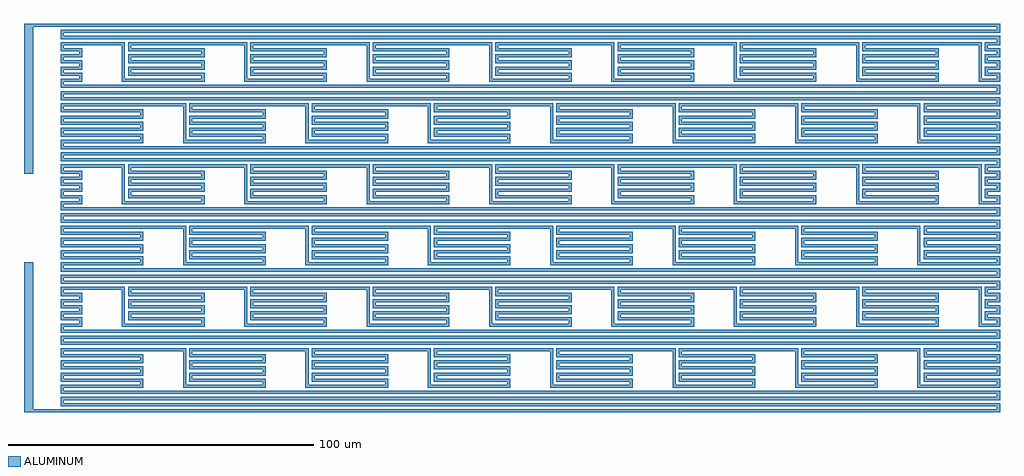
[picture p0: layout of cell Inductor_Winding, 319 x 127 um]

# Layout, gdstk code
import gdstk
lib = gdstk.Library(unit=1e-6, precision=1e-09)
def R(c, l, rs):  # rectangles x0, y0, x1, y1
    for r in rs: c.add(gdstk.rectangle(r[:2], r[2:], *l))
def P(c, l, *ps):  # polygons
    for p in ps: c.add(gdstk.Polygon(p, *l))
ALUMINUM = (3, 0)

inductor_winding = lib.new_cell('Inductor_Winding')
R(inductor_winding, ALUMINUM, [(1358.226,-197.065,1372.226,-196.065), (1370.226,-197.065,1517.226,-196.065), (1358.226,-196.565,1361.226,-148.065), (1358.226,-119.065,1361.226,-70.565), (1358.226,-71.065,1372.226,-70.065), (1370.226,-71.065,1537.226,-70.065)])
P(inductor_winding, ALUMINUM, [(1391.226,-163.065),(1391.226,-168.065),(1416.226,-168.065),(1416.226,-167.065),(1392.226,-167.065),(1392.226,-164.065),(1416.226,-164.065),(1416.226,-163.065),(1417.226,-163.065),(1417.226,-165.065),(1393.226,-165.065),(1393.226,-166.065),(1417.226,-166.065),(1417.226,-169.065),(1390.226,-169.065),(1390.226,-163.065)],
  [(1431.226,-163.065),(1431.226,-168.065),(1456.226,-168.065),(1456.226,-167.065),(1432.226,-167.065),(1432.226,-164.065),(1456.226,-164.065),(1456.226,-163.065),(1457.226,-163.065),(1457.226,-165.065),(1433.226,-165.065),(1433.226,-166.065),(1457.226,-166.065),(1457.226,-169.065),(1430.226,-169.065),(1430.226,-163.065)],
  [(1471.226,-163.065),(1471.226,-168.065),(1496.226,-168.065),(1496.226,-167.065),(1472.226,-167.065),(1472.226,-164.065),(1496.226,-164.065),(1496.226,-163.065),(1497.226,-163.065),(1497.226,-165.065),(1473.226,-165.065),(1473.226,-166.065),(1497.226,-166.065),(1497.226,-169.065),(1470.226,-169.065),(1470.226,-163.065)],
  [(1511.226,-163.065),(1511.226,-168.065),(1536.226,-168.065),(1536.226,-167.065),(1512.226,-167.065),(1512.226,-164.065),(1536.226,-164.065),(1536.226,-163.065),(1537.226,-163.065),(1537.226,-165.065),(1513.226,-165.065),(1513.226,-166.065),(1537.226,-166.065),(1537.226,-169.065),(1510.226,-169.065),(1510.226,-163.065)],
  [(1551.226,-163.065),(1551.226,-168.065),(1576.226,-168.065),(1576.226,-167.065),(1552.226,-167.065),(1552.226,-164.065),(1576.226,-164.065),(1576.226,-163.065),(1577.226,-163.065),(1577.226,-165.065),(1553.226,-165.065),(1553.226,-166.065),(1577.226,-166.065),(1577.226,-169.065),(1550.226,-169.065),(1550.226,-163.065)],
  [(1591.226,-163.065),(1591.226,-168.065),(1616.226,-168.065),(1616.226,-167.065),(1592.226,-167.065),(1592.226,-164.065),(1616.226,-164.065),(1616.226,-163.065),(1617.226,-163.065),(1617.226,-165.065),(1593.226,-165.065),(1593.226,-166.065),(1617.226,-166.065),(1617.226,-169.065),(1590.226,-169.065),(1590.226,-163.065)],
  [(1631.226,-163.065),(1631.226,-168.065),(1656.226,-168.065),(1656.226,-167.065),(1632.226,-167.065),(1632.226,-164.065),(1656.226,-164.065),(1656.226,-163.065),(1657.226,-163.065),(1657.226,-165.065),(1633.226,-165.065),(1633.226,-166.065),(1657.226,-166.065),(1657.226,-169.065),(1630.226,-169.065),(1630.226,-163.065)],
  [(1671.226,-163.065),(1671.226,-168.065),(1676.226,-168.065),(1676.226,-167.065),(1672.226,-167.065),(1672.226,-164.065),(1676.226,-164.065),(1676.226,-163.065),(1677.226,-163.065),(1677.226,-165.065),(1673.226,-165.065),(1673.226,-166.065),(1677.226,-166.065),(1677.226,-169.065),(1670.226,-169.065),(1670.226,-163.065)],
  [(1370.226,-163.065),(1370.226,-160.065),(1376.226,-160.065),(1376.226,-159.065),(1370.226,-159.065),(1370.226,-156.065),(1391.226,-156.065),(1391.226,-163.065),(1390.226,-163.065),(1390.226,-157.065),(1371.226,-157.065),(1371.226,-158.065),(1377.226,-158.065),(1377.226,-161.065),(1371.226,-161.065),(1371.226,-162.065),(1377.226,-162.065),(1377.226,-163.065)],
  [(1392.226,-163.065),(1392.226,-160.065),(1416.226,-160.065),(1416.226,-159.065),(1392.226,-159.065),(1392.226,-156.065),(1431.226,-156.065),(1431.226,-163.065),(1430.226,-163.065),(1430.226,-157.065),(1393.226,-157.065),(1393.226,-158.065),(1417.226,-158.065),(1417.226,-161.065),(1393.226,-161.065),(1393.226,-162.065),(1417.226,-162.065),(1417.226,-163.065)],
  [(1432.226,-163.065),(1432.226,-160.065),(1456.226,-160.065),(1456.226,-159.065),(1432.226,-159.065),(1432.226,-156.065),(1471.226,-156.065),(1471.226,-163.065),(1470.226,-163.065),(1470.226,-157.065),(1433.226,-157.065),(1433.226,-158.065),(1457.226,-158.065),(1457.226,-161.065),(1433.226,-161.065),(1433.226,-162.065),(1457.226,-162.065),(1457.226,-163.065)],
  [(1472.226,-163.065),(1472.226,-160.065),(1496.226,-160.065),(1496.226,-159.065),(1472.226,-159.065),(1472.226,-156.065),(1511.226,-156.065),(1511.226,-163.065),(1510.226,-163.065),(1510.226,-157.065),(1473.226,-157.065),(1473.226,-158.065),(1497.226,-158.065),(1497.226,-161.065),(1473.226,-161.065),(1473.226,-162.065),(1497.226,-162.065),(1497.226,-163.065)],
  [(1512.226,-163.065),(1512.226,-160.065),(1536.226,-160.065),(1536.226,-159.065),(1512.226,-159.065),(1512.226,-156.065),(1551.226,-156.065),(1551.226,-163.065),(1550.226,-163.065),(1550.226,-157.065),(1513.226,-157.065),(1513.226,-158.065),(1537.226,-158.065),(1537.226,-161.065),(1513.226,-161.065),(1513.226,-162.065),(1537.226,-162.065),(1537.226,-163.065)],
  [(1552.226,-163.065),(1552.226,-160.065),(1576.226,-160.065),(1576.226,-159.065),(1552.226,-159.065),(1552.226,-156.065),(1591.226,-156.065),(1591.226,-163.065),(1590.226,-163.065),(1590.226,-157.065),(1553.226,-157.065),(1553.226,-158.065),(1577.226,-158.065),(1577.226,-161.065),(1553.226,-161.065),(1553.226,-162.065),(1577.226,-162.065),(1577.226,-163.065)],
  [(1592.226,-163.065),(1592.226,-160.065),(1616.226,-160.065),(1616.226,-159.065),(1592.226,-159.065),(1592.226,-156.065),(1631.226,-156.065),(1631.226,-163.065),(1630.226,-163.065),(1630.226,-157.065),(1593.226,-157.065),(1593.226,-158.065),(1617.226,-158.065),(1617.226,-161.065),(1593.226,-161.065),(1593.226,-162.065),(1617.226,-162.065),(1617.226,-163.065)],
  [(1632.226,-163.065),(1632.226,-160.065),(1656.226,-160.065),(1656.226,-159.065),(1632.226,-159.065),(1632.226,-156.065),(1671.226,-156.065),(1671.226,-163.065),(1670.226,-163.065),(1670.226,-157.065),(1633.226,-157.065),(1633.226,-158.065),(1657.226,-158.065),(1657.226,-161.065),(1633.226,-161.065),(1633.226,-162.065),(1657.226,-162.065),(1657.226,-163.065)],
  [(1411.226,-102.065),(1411.226,-108.065),(1436.226,-108.065),(1436.226,-107.065),(1412.226,-107.065),(1412.226,-104.065),(1436.226,-104.065),(1436.226,-103.065),(1412.226,-103.065),(1412.226,-102.065),(1437.226,-102.065),(1437.226,-105.065),(1413.226,-105.065),(1413.226,-106.065),(1437.226,-106.065),(1437.226,-109.065),(1410.226,-109.065),(1410.226,-102.065)],
  [(1451.226,-102.065),(1451.226,-108.065),(1476.226,-108.065),(1476.226,-107.065),(1452.226,-107.065),(1452.226,-104.065),(1476.226,-104.065),(1476.226,-103.065),(1452.226,-103.065),(1452.226,-102.065),(1477.226,-102.065),(1477.226,-105.065),(1453.226,-105.065),(1453.226,-106.065),(1477.226,-106.065),(1477.226,-109.065),(1450.226,-109.065),(1450.226,-102.065)],
  [(1491.226,-102.065),(1491.226,-108.065),(1516.226,-108.065),(1516.226,-107.065),(1492.226,-107.065),(1492.226,-104.065),(1516.226,-104.065),(1516.226,-103.065),(1492.226,-103.065),(1492.226,-102.065),(1517.226,-102.065),(1517.226,-105.065),(1493.226,-105.065),(1493.226,-106.065),(1517.226,-106.065),(1517.226,-109.065),(1490.226,-109.065),(1490.226,-102.065)],
  [(1531.226,-102.065),(1531.226,-108.065),(1556.226,-108.065),(1556.226,-107.065),(1532.226,-107.065),(1532.226,-104.065),(1556.226,-104.065),(1556.226,-103.065),(1532.226,-103.065),(1532.226,-102.065),(1557.226,-102.065),(1557.226,-105.065),(1533.226,-105.065),(1533.226,-106.065),(1557.226,-106.065),(1557.226,-109.065),(1530.226,-109.065),(1530.226,-102.065)],
  [(1571.226,-102.065),(1571.226,-108.065),(1596.226,-108.065),(1596.226,-107.065),(1572.226,-107.065),(1572.226,-104.065),(1596.226,-104.065),(1596.226,-103.065),(1572.226,-103.065),(1572.226,-102.065),(1597.226,-102.065),(1597.226,-105.065),(1573.226,-105.065),(1573.226,-106.065),(1597.226,-106.065),(1597.226,-109.065),(1570.226,-109.065),(1570.226,-102.065)],
  [(1611.226,-102.065),(1611.226,-108.065),(1636.226,-108.065),(1636.226,-107.065),(1612.226,-107.065),(1612.226,-104.065),(1636.226,-104.065),(1636.226,-103.065),(1612.226,-103.065),(1612.226,-102.065),(1637.226,-102.065),(1637.226,-105.065),(1613.226,-105.065),(1613.226,-106.065),(1637.226,-106.065),(1637.226,-109.065),(1610.226,-109.065),(1610.226,-102.065)],
  [(1651.226,-102.065),(1651.226,-108.065),(1676.226,-108.065),(1676.226,-107.065),(1652.226,-107.065),(1652.226,-104.065),(1676.226,-104.065),(1676.226,-103.065),(1652.226,-103.065),(1652.226,-102.065),(1677.226,-102.065),(1677.226,-105.065),(1653.226,-105.065),(1653.226,-106.065),(1677.226,-106.065),(1677.226,-109.065),(1650.226,-109.065),(1650.226,-102.065)],
  [(1370.226,-102.065),(1370.226,-100.065),(1396.226,-100.065),(1396.226,-99.065),(1370.226,-99.065),(1370.226,-96.065),(1411.226,-96.065),(1411.226,-102.065),(1410.226,-102.065),(1410.226,-97.065),(1371.226,-97.065),(1371.226,-98.065),(1397.226,-98.065),(1397.226,-101.065),(1371.226,-101.065),(1371.226,-102.065)],
  [(1412.226,-102.065),(1412.226,-100.065),(1436.226,-100.065),(1436.226,-99.065),(1412.226,-99.065),(1412.226,-96.065),(1451.226,-96.065),(1451.226,-102.065),(1450.226,-102.065),(1450.226,-97.065),(1413.226,-97.065),(1413.226,-98.065),(1437.226,-98.065),(1437.226,-101.065),(1413.226,-101.065),(1413.226,-102.065)],
  [(1452.226,-102.065),(1452.226,-100.065),(1476.226,-100.065),(1476.226,-99.065),(1452.226,-99.065),(1452.226,-96.065),(1491.226,-96.065),(1491.226,-102.065),(1490.226,-102.065),(1490.226,-97.065),(1453.226,-97.065),(1453.226,-98.065),(1477.226,-98.065),(1477.226,-101.065),(1453.226,-101.065),(1453.226,-102.065)],
  [(1492.226,-102.065),(1492.226,-100.065),(1516.226,-100.065),(1516.226,-99.065),(1492.226,-99.065),(1492.226,-96.065),(1531.226,-96.065),(1531.226,-102.065),(1530.226,-102.065),(1530.226,-97.065),(1493.226,-97.065),(1493.226,-98.065),(1517.226,-98.065),(1517.226,-101.065),(1493.226,-101.065),(1493.226,-102.065)],
  [(1532.226,-102.065),(1532.226,-100.065),(1556.226,-100.065),(1556.226,-99.065),(1532.226,-99.065),(1532.226,-96.065),(1571.226,-96.065),(1571.226,-102.065),(1570.226,-102.065),(1570.226,-97.065),(1533.226,-97.065),(1533.226,-98.065),(1557.226,-98.065),(1557.226,-101.065),(1533.226,-101.065),(1533.226,-102.065)],
  [(1572.226,-102.065),(1572.226,-100.065),(1596.226,-100.065),(1596.226,-99.065),(1572.226,-99.065),(1572.226,-96.065),(1611.226,-96.065),(1611.226,-102.065),(1610.226,-102.065),(1610.226,-97.065),(1573.226,-97.065),(1573.226,-98.065),(1597.226,-98.065),(1597.226,-101.065),(1573.226,-101.065),(1573.226,-102.065)],
  [(1612.226,-102.065),(1612.226,-100.065),(1636.226,-100.065),(1636.226,-99.065),(1612.226,-99.065),(1612.226,-96.065),(1651.226,-96.065),(1651.226,-102.065),(1650.226,-102.065),(1650.226,-97.065),(1613.226,-97.065),(1613.226,-98.065),(1637.226,-98.065),(1637.226,-101.065),(1613.226,-101.065),(1613.226,-102.065)],
  [(1517.226,-195.065),(1370.226,-195.065),(1370.226,-192.065),(1517.226,-192.065),(1517.226,-193.065),(1371.226,-193.065),(1371.226,-194.065),(1517.226,-194.065)],
  [(1517.226,-191.065),(1370.226,-191.065),(1370.226,-188.065),(1396.226,-188.065),(1396.226,-187.065),(1370.226,-187.065),(1370.226,-184.065),(1396.226,-184.065),(1396.226,-183.065),(1370.226,-183.065),(1370.226,-180.065),(1396.226,-180.065),(1396.226,-179.065),(1370.226,-179.065),(1370.226,-176.065),(1411.226,-176.065),(1411.226,-188.065),(1436.226,-188.065),(1436.226,-187.065),(1412.226,-187.065),(1412.226,-184.065),(1436.226,-184.065),(1436.226,-183.065),(1412.226,-183.065),(1412.226,-180.065),(1436.226,-180.065),(1436.226,-179.065),(1412.226,-179.065),(1412.226,-176.065),(1451.226,-176.065),(1451.226,-188.065),(1476.226,-188.065),(1476.226,-187.065),(1452.226,-187.065),(1452.226,-184.065),(1476.226,-184.065),(1476.226,-183.065),(1452.226,-183.065),(1452.226,-180.065),(1476.226,-180.065),(1476.226,-179.065),(1452.226,-179.065),(1452.226,-176.065),(1491.226,-176.065),(1491.226,-188.065),(1516.226,-188.065),(1516.226,-187.065),(1492.226,-187.065),(1492.226,-184.065),(1516.226,-184.065),(1516.226,-183.065),(1492.226,-183.065),(1492.226,-180.065),(1516.226,-180.065),(1516.226,-179.065),(1492.226,-179.065),(1492.226,-176.065),(1517.226,-176.065),(1517.226,-177.065),(1493.226,-177.065),(1493.226,-178.065),(1517.226,-178.065),(1517.226,-181.065),(1493.226,-181.065),(1493.226,-182.065),(1517.226,-182.065),(1517.226,-185.065),(1493.226,-185.065),(1493.226,-186.065),(1517.226,-186.065),(1517.226,-189.065),(1490.226,-189.065),(1490.226,-177.065),(1453.226,-177.065),(1453.226,-178.065),(1477.226,-178.065),(1477.226,-181.065),(1453.226,-181.065),(1453.226,-182.065),(1477.226,-182.065),(1477.226,-185.065),(1453.226,-185.065),(1453.226,-186.065),(1477.226,-186.065),(1477.226,-189.065),(1450.226,-189.065),(1450.226,-177.065),(1413.226,-177.065),(1413.226,-178.065),(1437.226,-178.065),(1437.226,-181.065),(1413.226,-181.065),(1413.226,-182.065),(1437.226,-182.065),(1437.226,-185.065),(1413.226,-185.065),(1413.226,-186.065),(1437.226,-186.065),(1437.226,-189.065),(1410.226,-189.065),(1410.226,-177.065),(1371.226,-177.065),(1371.226,-178.065),(1397.226,-178.065),(1397.226,-181.065),(1371.226,-181.065),(1371.226,-182.065),(1397.226,-182.065),(1397.226,-185.065),(1371.226,-185.065),(1371.226,-186.065),(1397.226,-186.065),(1397.226,-189.065),(1371.226,-189.065),(1371.226,-190.065),(1517.226,-190.065)],
  [(1517.226,-175.065),(1370.226,-175.065),(1370.226,-172.065),(1517.226,-172.065),(1517.226,-173.065),(1371.226,-173.065),(1371.226,-174.065),(1517.226,-174.065)],
  [(1517.226,-171.065),(1370.226,-171.065),(1370.226,-168.065),(1376.226,-168.065),(1376.226,-167.065),(1370.226,-167.065),(1370.226,-164.065),(1376.226,-164.065),(1376.226,-163.065),(1377.226,-163.065),(1377.226,-165.065),(1371.226,-165.065),(1371.226,-166.065),(1377.226,-166.065),(1377.226,-169.065),(1371.226,-169.065),(1371.226,-170.065),(1517.226,-170.065)],
  [(1517.226,-196.065),(1676.226,-196.065),(1676.226,-195.065),(1517.226,-195.065),(1517.226,-194.065),(1677.226,-194.065),(1677.226,-197.065),(1517.226,-197.065)],
  [(1517.226,-192.065),(1676.226,-192.065),(1676.226,-191.065),(1517.226,-191.065),(1517.226,-190.065),(1677.226,-190.065),(1677.226,-193.065),(1517.226,-193.065)],
  [(1517.226,-176.065),(1531.226,-176.065),(1531.226,-188.065),(1556.226,-188.065),(1556.226,-187.065),(1532.226,-187.065),(1532.226,-184.065),(1556.226,-184.065),(1556.226,-183.065),(1532.226,-183.065),(1532.226,-180.065),(1556.226,-180.065),(1556.226,-179.065),(1532.226,-179.065),(1532.226,-176.065),(1571.226,-176.065),(1571.226,-188.065),(1596.226,-188.065),(1596.226,-187.065),(1572.226,-187.065),(1572.226,-184.065),(1596.226,-184.065),(1596.226,-183.065),(1572.226,-183.065),(1572.226,-180.065),(1596.226,-180.065),(1596.226,-179.065),(1572.226,-179.065),(1572.226,-176.065),(1611.226,-176.065),(1611.226,-188.065),(1636.226,-188.065),(1636.226,-187.065),(1612.226,-187.065),(1612.226,-184.065),(1636.226,-184.065),(1636.226,-183.065),(1612.226,-183.065),(1612.226,-180.065),(1636.226,-180.065),(1636.226,-179.065),(1612.226,-179.065),(1612.226,-176.065),(1651.226,-176.065),(1651.226,-188.065),(1676.226,-188.065),(1676.226,-187.065),(1652.226,-187.065),(1652.226,-184.065),(1676.226,-184.065),(1676.226,-183.065),(1652.226,-183.065),(1652.226,-180.065),(1676.226,-180.065),(1676.226,-179.065),(1652.226,-179.065),(1652.226,-176.065),(1676.226,-176.065),(1676.226,-175.065),(1517.226,-175.065),(1517.226,-174.065),(1677.226,-174.065),(1677.226,-177.065),(1653.226,-177.065),(1653.226,-178.065),(1677.226,-178.065),(1677.226,-181.065),(1653.226,-181.065),(1653.226,-182.065),(1677.226,-182.065),(1677.226,-185.065),(1653.226,-185.065),(1653.226,-186.065),(1677.226,-186.065),(1677.226,-189.065),(1650.226,-189.065),(1650.226,-177.065),(1613.226,-177.065),(1613.226,-178.065),(1637.226,-178.065),(1637.226,-181.065),(1613.226,-181.065),(1613.226,-182.065),(1637.226,-182.065),(1637.226,-185.065),(1613.226,-185.065),(1613.226,-186.065),(1637.226,-186.065),(1637.226,-189.065),(1610.226,-189.065),(1610.226,-177.065),(1573.226,-177.065),(1573.226,-178.065),(1597.226,-178.065),(1597.226,-181.065),(1573.226,-181.065),(1573.226,-182.065),(1597.226,-182.065),(1597.226,-185.065),(1573.226,-185.065),(1573.226,-186.065),(1597.226,-186.065),(1597.226,-189.065),(1570.226,-189.065),(1570.226,-177.065),(1533.226,-177.065),(1533.226,-178.065),(1557.226,-178.065),(1557.226,-181.065),(1533.226,-181.065),(1533.226,-182.065),(1557.226,-182.065),(1557.226,-185.065),(1533.226,-185.065),(1533.226,-186.065),(1557.226,-186.065),(1557.226,-189.065),(1530.226,-189.065),(1530.226,-177.065),(1517.226,-177.065)],
  [(1517.226,-172.065),(1676.226,-172.065),(1676.226,-171.065),(1517.226,-171.065),(1517.226,-170.065),(1677.226,-170.065),(1677.226,-173.065),(1517.226,-173.065)],
  [(1532.226,-155.065),(1370.226,-155.065),(1370.226,-152.065),(1532.226,-152.065),(1532.226,-153.065),(1371.226,-153.065),(1371.226,-154.065),(1532.226,-154.065)],
  [(1532.226,-151.065),(1370.226,-151.065),(1370.226,-148.065),(1396.226,-148.065),(1396.226,-147.065),(1370.226,-147.065),(1370.226,-144.065),(1396.226,-144.065),(1396.226,-143.065),(1370.226,-143.065),(1370.226,-140.065),(1396.226,-140.065),(1396.226,-139.065),(1370.226,-139.065),(1370.226,-136.065),(1411.226,-136.065),(1411.226,-148.065),(1436.226,-148.065),(1436.226,-147.065),(1412.226,-147.065),(1412.226,-144.065),(1436.226,-144.065),(1436.226,-143.065),(1412.226,-143.065),(1412.226,-140.065),(1436.226,-140.065),(1436.226,-139.065),(1412.226,-139.065),(1412.226,-136.065),(1451.226,-136.065),(1451.226,-148.065),(1476.226,-148.065),(1476.226,-147.065),(1452.226,-147.065),(1452.226,-144.065),(1476.226,-144.065),(1476.226,-143.065),(1452.226,-143.065),(1452.226,-140.065),(1476.226,-140.065),(1476.226,-139.065),(1452.226,-139.065),(1452.226,-136.065),(1491.226,-136.065),(1491.226,-148.065),(1516.226,-148.065),(1516.226,-147.065),(1492.226,-147.065),(1492.226,-144.065),(1516.226,-144.065),(1516.226,-143.065),(1492.226,-143.065),(1492.226,-140.065),(1516.226,-140.065),(1516.226,-139.065),(1492.226,-139.065),(1492.226,-136.065),(1531.226,-136.065),(1531.226,-148.065),(1532.226,-148.065),(1532.226,-149.065),(1530.226,-149.065),(1530.226,-137.065),(1493.226,-137.065),(1493.226,-138.065),(1517.226,-138.065),(1517.226,-141.065),(1493.226,-141.065),(1493.226,-142.065),(1517.226,-142.065),(1517.226,-145.065),(1493.226,-145.065),(1493.226,-146.065),(1517.226,-146.065),(1517.226,-149.065),(1490.226,-149.065),(1490.226,-137.065),(1453.226,-137.065),(1453.226,-138.065),(1477.226,-138.065),(1477.226,-141.065),(1453.226,-141.065),(1453.226,-142.065),(1477.226,-142.065),(1477.226,-145.065),(1453.226,-145.065),(1453.226,-146.065),(1477.226,-146.065),(1477.226,-149.065),(1450.226,-149.065),(1450.226,-137.065),(1413.226,-137.065),(1413.226,-138.065),(1437.226,-138.065),(1437.226,-141.065),(1413.226,-141.065),(1413.226,-142.065),(1437.226,-142.065),(1437.226,-145.065),(1413.226,-145.065),(1413.226,-146.065),(1437.226,-146.065),(1437.226,-149.065),(1410.226,-149.065),(1410.226,-137.065),(1371.226,-137.065),(1371.226,-138.065),(1397.226,-138.065),(1397.226,-141.065),(1371.226,-141.065),(1371.226,-142.065),(1397.226,-142.065),(1397.226,-145.065),(1371.226,-145.065),(1371.226,-146.065),(1397.226,-146.065),(1397.226,-149.065),(1371.226,-149.065),(1371.226,-150.065),(1532.226,-150.065)],
  [(1532.226,-135.065),(1370.226,-135.065),(1370.226,-132.065),(1532.226,-132.065),(1532.226,-133.065),(1371.226,-133.065),(1371.226,-134.065),(1532.226,-134.065)],
  [(1532.226,-131.065),(1370.226,-131.065),(1370.226,-129.065),(1371.226,-129.065),(1371.226,-130.065),(1532.226,-130.065)],
  [(1532.226,-154.065),(1677.226,-154.065),(1677.226,-157.065),(1673.226,-157.065),(1673.226,-158.065),(1677.226,-158.065),(1677.226,-161.065),(1673.226,-161.065),(1673.226,-162.065),(1677.226,-162.065),(1677.226,-163.065),(1672.226,-163.065),(1672.226,-160.065),(1676.226,-160.065),(1676.226,-159.065),(1672.226,-159.065),(1672.226,-156.065),(1676.226,-156.065),(1676.226,-155.065),(1532.226,-155.065)],
  [(1532.226,-152.065),(1676.226,-152.065),(1676.226,-151.065),(1532.226,-151.065),(1532.226,-150.065),(1677.226,-150.065),(1677.226,-153.065),(1532.226,-153.065)],
  [(1532.226,-148.065),(1556.226,-148.065),(1556.226,-147.065),(1532.226,-147.065),(1532.226,-144.065),(1556.226,-144.065),(1556.226,-143.065),(1532.226,-143.065),(1532.226,-140.065),(1556.226,-140.065),(1556.226,-139.065),(1532.226,-139.065),(1532.226,-136.065),(1571.226,-136.065),(1571.226,-148.065),(1596.226,-148.065),(1596.226,-147.065),(1572.226,-147.065),(1572.226,-144.065),(1596.226,-144.065),(1596.226,-143.065),(1572.226,-143.065),(1572.226,-140.065),(1596.226,-140.065),(1596.226,-139.065),(1572.226,-139.065),(1572.226,-136.065),(1611.226,-136.065),(1611.226,-148.065),(1636.226,-148.065),(1636.226,-147.065),(1612.226,-147.065),(1612.226,-144.065),(1636.226,-144.065),(1636.226,-143.065),(1612.226,-143.065),(1612.226,-140.065),(1636.226,-140.065),(1636.226,-139.065),(1612.226,-139.065),(1612.226,-136.065),(1651.226,-136.065),(1651.226,-148.065),(1676.226,-148.065),(1676.226,-147.065),(1652.226,-147.065),(1652.226,-144.065),(1676.226,-144.065),(1676.226,-143.065),(1652.226,-143.065),(1652.226,-140.065),(1676.226,-140.065),(1676.226,-139.065),(1652.226,-139.065),(1652.226,-136.065),(1676.226,-136.065),(1676.226,-135.065),(1532.226,-135.065),(1532.226,-134.065),(1677.226,-134.065),(1677.226,-137.065),(1653.226,-137.065),(1653.226,-138.065),(1677.226,-138.065),(1677.226,-141.065),(1653.226,-141.065),(1653.226,-142.065),(1677.226,-142.065),(1677.226,-145.065),(1653.226,-145.065),(1653.226,-146.065),(1677.226,-146.065),(1677.226,-149.065),(1650.226,-149.065),(1650.226,-137.065),(1613.226,-137.065),(1613.226,-138.065),(1637.226,-138.065),(1637.226,-141.065),(1613.226,-141.065),(1613.226,-142.065),(1637.226,-142.065),(1637.226,-145.065),(1613.226,-145.065),(1613.226,-146.065),(1637.226,-146.065),(1637.226,-149.065),(1610.226,-149.065),(1610.226,-137.065),(1573.226,-137.065),(1573.226,-138.065),(1597.226,-138.065),(1597.226,-141.065),(1573.226,-141.065),(1573.226,-142.065),(1597.226,-142.065),(1597.226,-145.065),(1573.226,-145.065),(1573.226,-146.065),(1597.226,-146.065),(1597.226,-149.065),(1570.226,-149.065),(1570.226,-137.065),(1533.226,-137.065),(1533.226,-138.065),(1557.226,-138.065),(1557.226,-141.065),(1533.226,-141.065),(1533.226,-142.065),(1557.226,-142.065),(1557.226,-145.065),(1533.226,-145.065),(1533.226,-146.065),(1557.226,-146.065),(1557.226,-149.065),(1532.226,-149.065)],
  [(1532.226,-132.065),(1676.226,-132.065),(1676.226,-131.065),(1532.226,-131.065),(1532.226,-130.065),(1677.226,-130.065),(1677.226,-133.065),(1532.226,-133.065)],
  [(1512.226,-129.065),(1510.226,-129.065),(1510.226,-117.065),(1473.226,-117.065),(1473.226,-118.065),(1497.226,-118.065),(1497.226,-121.065),(1473.226,-121.065),(1473.226,-122.065),(1497.226,-122.065),(1497.226,-125.065),(1473.226,-125.065),(1473.226,-126.065),(1497.226,-126.065),(1497.226,-129.065),(1470.226,-129.065),(1470.226,-117.065),(1433.226,-117.065),(1433.226,-118.065),(1457.226,-118.065),(1457.226,-121.065),(1433.226,-121.065),(1433.226,-122.065),(1457.226,-122.065),(1457.226,-125.065),(1433.226,-125.065),(1433.226,-126.065),(1457.226,-126.065),(1457.226,-129.065),(1430.226,-129.065),(1430.226,-117.065),(1393.226,-117.065),(1393.226,-118.065),(1417.226,-118.065),(1417.226,-121.065),(1393.226,-121.065),(1393.226,-122.065),(1417.226,-122.065),(1417.226,-125.065),(1393.226,-125.065),(1393.226,-126.065),(1417.226,-126.065),(1417.226,-129.065),(1390.226,-129.065),(1390.226,-117.065),(1371.226,-117.065),(1371.226,-118.065),(1377.226,-118.065),(1377.226,-121.065),(1371.226,-121.065),(1371.226,-122.065),(1377.226,-122.065),(1377.226,-125.065),(1371.226,-125.065),(1371.226,-126.065),(1377.226,-126.065),(1377.226,-129.065),(1370.226,-129.065),(1370.226,-128.065),(1376.226,-128.065),(1376.226,-127.065),(1370.226,-127.065),(1370.226,-124.065),(1376.226,-124.065),(1376.226,-123.065),(1370.226,-123.065),(1370.226,-120.065),(1376.226,-120.065),(1376.226,-119.065),(1370.226,-119.065),(1370.226,-116.065),(1391.226,-116.065),(1391.226,-128.065),(1416.226,-128.065),(1416.226,-127.065),(1392.226,-127.065),(1392.226,-124.065),(1416.226,-124.065),(1416.226,-123.065),(1392.226,-123.065),(1392.226,-120.065),(1416.226,-120.065),(1416.226,-119.065),(1392.226,-119.065),(1392.226,-116.065),(1431.226,-116.065),(1431.226,-128.065),(1456.226,-128.065),(1456.226,-127.065),(1432.226,-127.065),(1432.226,-124.065),(1456.226,-124.065),(1456.226,-123.065),(1432.226,-123.065),(1432.226,-120.065),(1456.226,-120.065),(1456.226,-119.065),(1432.226,-119.065),(1432.226,-116.065),(1471.226,-116.065),(1471.226,-128.065),(1496.226,-128.065),(1496.226,-127.065),(1472.226,-127.065),(1472.226,-124.065),(1496.226,-124.065),(1496.226,-123.065),(1472.226,-123.065),(1472.226,-120.065),(1496.226,-120.065),(1496.226,-119.065),(1472.226,-119.065),(1472.226,-116.065),(1511.226,-116.065),(1511.226,-128.065),(1512.226,-128.065)],
  [(1512.226,-115.065),(1370.226,-115.065),(1370.226,-112.065),(1512.226,-112.065),(1512.226,-113.065),(1371.226,-113.065),(1371.226,-114.065),(1512.226,-114.065)],
  [(1512.226,-111.065),(1370.226,-111.065),(1370.226,-108.065),(1396.226,-108.065),(1396.226,-107.065),(1370.226,-107.065),(1370.226,-104.065),(1396.226,-104.065),(1396.226,-103.065),(1370.226,-103.065),(1370.226,-102.065),(1397.226,-102.065),(1397.226,-105.065),(1371.226,-105.065),(1371.226,-106.065),(1397.226,-106.065),(1397.226,-109.065),(1371.226,-109.065),(1371.226,-110.065),(1512.226,-110.065)],
  [(1512.226,-128.065),(1536.226,-128.065),(1536.226,-127.065),(1512.226,-127.065),(1512.226,-124.065),(1536.226,-124.065),(1536.226,-123.065),(1512.226,-123.065),(1512.226,-120.065),(1536.226,-120.065),(1536.226,-119.065),(1512.226,-119.065),(1512.226,-116.065),(1551.226,-116.065),(1551.226,-128.065),(1576.226,-128.065),(1576.226,-127.065),(1552.226,-127.065),(1552.226,-124.065),(1576.226,-124.065),(1576.226,-123.065),(1552.226,-123.065),(1552.226,-120.065),(1576.226,-120.065),(1576.226,-119.065),(1552.226,-119.065),(1552.226,-116.065),(1591.226,-116.065),(1591.226,-128.065),(1616.226,-128.065),(1616.226,-127.065),(1592.226,-127.065),(1592.226,-124.065),(1616.226,-124.065),(1616.226,-123.065),(1592.226,-123.065),(1592.226,-120.065),(1616.226,-120.065),(1616.226,-119.065),(1592.226,-119.065),(1592.226,-116.065),(1631.226,-116.065),(1631.226,-128.065),(1656.226,-128.065),(1656.226,-127.065),(1632.226,-127.065),(1632.226,-124.065),(1656.226,-124.065),(1656.226,-123.065),(1632.226,-123.065),(1632.226,-120.065),(1656.226,-120.065),(1656.226,-119.065),(1632.226,-119.065),(1632.226,-116.065),(1671.226,-116.065),(1671.226,-128.065),(1676.226,-128.065),(1676.226,-127.065),(1672.226,-127.065),(1672.226,-124.065),(1676.226,-124.065),(1676.226,-123.065),(1672.226,-123.065),(1672.226,-120.065),(1676.226,-120.065),(1676.226,-119.065),(1672.226,-119.065),(1672.226,-116.065),(1676.226,-116.065),(1676.226,-115.065),(1512.226,-115.065),(1512.226,-114.065),(1677.226,-114.065),(1677.226,-117.065),(1673.226,-117.065),(1673.226,-118.065),(1677.226,-118.065),(1677.226,-121.065),(1673.226,-121.065),(1673.226,-122.065),(1677.226,-122.065),(1677.226,-125.065),(1673.226,-125.065),(1673.226,-126.065),(1677.226,-126.065),(1677.226,-129.065),(1670.226,-129.065),(1670.226,-117.065),(1633.226,-117.065),(1633.226,-118.065),(1657.226,-118.065),(1657.226,-121.065),(1633.226,-121.065),(1633.226,-122.065),(1657.226,-122.065),(1657.226,-125.065),(1633.226,-125.065),(1633.226,-126.065),(1657.226,-126.065),(1657.226,-129.065),(1630.226,-129.065),(1630.226,-117.065),(1593.226,-117.065),(1593.226,-118.065),(1617.226,-118.065),(1617.226,-121.065),(1593.226,-121.065),(1593.226,-122.065),(1617.226,-122.065),(1617.226,-125.065),(1593.226,-125.065),(1593.226,-126.065),(1617.226,-126.065),(1617.226,-129.065),(1590.226,-129.065),(1590.226,-117.065),(1553.226,-117.065),(1553.226,-118.065),(1577.226,-118.065),(1577.226,-121.065),(1553.226,-121.065),(1553.226,-122.065),(1577.226,-122.065),(1577.226,-125.065),(1553.226,-125.065),(1553.226,-126.065),(1577.226,-126.065),(1577.226,-129.065),(1550.226,-129.065),(1550.226,-117.065),(1513.226,-117.065),(1513.226,-118.065),(1537.226,-118.065),(1537.226,-121.065),(1513.226,-121.065),(1513.226,-122.065),(1537.226,-122.065),(1537.226,-125.065),(1513.226,-125.065),(1513.226,-126.065),(1537.226,-126.065),(1537.226,-129.065),(1512.226,-129.065)],
  [(1512.226,-112.065),(1676.226,-112.065),(1676.226,-111.065),(1512.226,-111.065),(1512.226,-110.065),(1677.226,-110.065),(1677.226,-113.065),(1512.226,-113.065)],
  [(1537.226,-95.065),(1370.226,-95.065),(1370.226,-92.065),(1537.226,-92.065),(1537.226,-93.065),(1371.226,-93.065),(1371.226,-94.065),(1537.226,-94.065)],
  [(1537.226,-91.065),(1370.226,-91.065),(1370.226,-88.065),(1376.226,-88.065),(1376.226,-87.065),(1370.226,-87.065),(1370.226,-84.065),(1376.226,-84.065),(1376.226,-83.065),(1370.226,-83.065),(1370.226,-80.065),(1376.226,-80.065),(1376.226,-79.065),(1370.226,-79.065),(1370.226,-76.065),(1391.226,-76.065),(1391.226,-88.065),(1416.226,-88.065),(1416.226,-87.065),(1392.226,-87.065),(1392.226,-84.065),(1416.226,-84.065),(1416.226,-83.065),(1392.226,-83.065),(1392.226,-80.065),(1416.226,-80.065),(1416.226,-79.065),(1392.226,-79.065),(1392.226,-76.065),(1431.226,-76.065),(1431.226,-88.065),(1456.226,-88.065),(1456.226,-87.065),(1432.226,-87.065),(1432.226,-84.065),(1456.226,-84.065),(1456.226,-83.065),(1432.226,-83.065),(1432.226,-80.065),(1456.226,-80.065),(1456.226,-79.065),(1432.226,-79.065),(1432.226,-76.065),(1471.226,-76.065),(1471.226,-88.065),(1496.226,-88.065),(1496.226,-87.065),(1472.226,-87.065),(1472.226,-84.065),(1496.226,-84.065),(1496.226,-83.065),(1472.226,-83.065),(1472.226,-80.065),(1496.226,-80.065),(1496.226,-79.065),(1472.226,-79.065),(1472.226,-76.065),(1511.226,-76.065),(1511.226,-88.065),(1536.226,-88.065),(1536.226,-87.065),(1512.226,-87.065),(1512.226,-84.065),(1536.226,-84.065),(1536.226,-83.065),(1512.226,-83.065),(1512.226,-80.065),(1536.226,-80.065),(1536.226,-79.065),(1512.226,-79.065),(1512.226,-76.065),(1537.226,-76.065),(1537.226,-77.065),(1513.226,-77.065),(1513.226,-78.065),(1537.226,-78.065),(1537.226,-81.065),(1513.226,-81.065),(1513.226,-82.065),(1537.226,-82.065),(1537.226,-85.065),(1513.226,-85.065),(1513.226,-86.065),(1537.226,-86.065),(1537.226,-89.065),(1510.226,-89.065),(1510.226,-77.065),(1473.226,-77.065),(1473.226,-78.065),(1497.226,-78.065),(1497.226,-81.065),(1473.226,-81.065),(1473.226,-82.065),(1497.226,-82.065),(1497.226,-85.065),(1473.226,-85.065),(1473.226,-86.065),(1497.226,-86.065),(1497.226,-89.065),(1470.226,-89.065),(1470.226,-77.065),(1433.226,-77.065),(1433.226,-78.065),(1457.226,-78.065),(1457.226,-81.065),(1433.226,-81.065),(1433.226,-82.065),(1457.226,-82.065),(1457.226,-85.065),(1433.226,-85.065),(1433.226,-86.065),(1457.226,-86.065),(1457.226,-89.065),(1430.226,-89.065),(1430.226,-77.065),(1393.226,-77.065),(1393.226,-78.065),(1417.226,-78.065),(1417.226,-81.065),(1393.226,-81.065),(1393.226,-82.065),(1417.226,-82.065),(1417.226,-85.065),(1393.226,-85.065),(1393.226,-86.065),(1417.226,-86.065),(1417.226,-89.065),(1390.226,-89.065),(1390.226,-77.065),(1371.226,-77.065),(1371.226,-78.065),(1377.226,-78.065),(1377.226,-81.065),(1371.226,-81.065),(1371.226,-82.065),(1377.226,-82.065),(1377.226,-85.065),(1371.226,-85.065),(1371.226,-86.065),(1377.226,-86.065),(1377.226,-89.065),(1371.226,-89.065),(1371.226,-90.065),(1537.226,-90.065)],
  [(1537.226,-75.065),(1370.226,-75.065),(1370.226,-72.065),(1537.226,-72.065),(1537.226,-73.065),(1371.226,-73.065),(1371.226,-74.065),(1537.226,-74.065)],
  [(1537.226,-94.065),(1677.226,-94.065),(1677.226,-97.065),(1653.226,-97.065),(1653.226,-98.065),(1677.226,-98.065),(1677.226,-101.065),(1653.226,-101.065),(1653.226,-102.065),(1652.226,-102.065),(1652.226,-100.065),(1676.226,-100.065),(1676.226,-99.065),(1652.226,-99.065),(1652.226,-96.065),(1676.226,-96.065),(1676.226,-95.065),(1537.226,-95.065)],
  [(1537.226,-92.065),(1676.226,-92.065),(1676.226,-91.065),(1537.226,-91.065),(1537.226,-90.065),(1677.226,-90.065),(1677.226,-93.065),(1537.226,-93.065)],
  [(1537.226,-76.065),(1551.226,-76.065),(1551.226,-88.065),(1576.226,-88.065),(1576.226,-87.065),(1552.226,-87.065),(1552.226,-84.065),(1576.226,-84.065),(1576.226,-83.065),(1552.226,-83.065),(1552.226,-80.065),(1576.226,-80.065),(1576.226,-79.065),(1552.226,-79.065),(1552.226,-76.065),(1591.226,-76.065),(1591.226,-88.065),(1616.226,-88.065),(1616.226,-87.065),(1592.226,-87.065),(1592.226,-84.065),(1616.226,-84.065),(1616.226,-83.065),(1592.226,-83.065),(1592.226,-80.065),(1616.226,-80.065),(1616.226,-79.065),(1592.226,-79.065),(1592.226,-76.065),(1631.226,-76.065),(1631.226,-88.065),(1656.226,-88.065),(1656.226,-87.065),(1632.226,-87.065),(1632.226,-84.065),(1656.226,-84.065),(1656.226,-83.065),(1632.226,-83.065),(1632.226,-80.065),(1656.226,-80.065),(1656.226,-79.065),(1632.226,-79.065),(1632.226,-76.065),(1671.226,-76.065),(1671.226,-88.065),(1676.226,-88.065),(1676.226,-87.065),(1672.226,-87.065),(1672.226,-84.065),(1676.226,-84.065),(1676.226,-83.065),(1672.226,-83.065),(1672.226,-80.065),(1676.226,-80.065),(1676.226,-79.065),(1672.226,-79.065),(1672.226,-76.065),(1676.226,-76.065),(1676.226,-75.065),(1537.226,-75.065),(1537.226,-74.065),(1677.226,-74.065),(1677.226,-77.065),(1673.226,-77.065),(1673.226,-78.065),(1677.226,-78.065),(1677.226,-81.065),(1673.226,-81.065),(1673.226,-82.065),(1677.226,-82.065),(1677.226,-85.065),(1673.226,-85.065),(1673.226,-86.065),(1677.226,-86.065),(1677.226,-89.065),(1670.226,-89.065),(1670.226,-77.065),(1633.226,-77.065),(1633.226,-78.065),(1657.226,-78.065),(1657.226,-81.065),(1633.226,-81.065),(1633.226,-82.065),(1657.226,-82.065),(1657.226,-85.065),(1633.226,-85.065),(1633.226,-86.065),(1657.226,-86.065),(1657.226,-89.065),(1630.226,-89.065),(1630.226,-77.065),(1593.226,-77.065),(1593.226,-78.065),(1617.226,-78.065),(1617.226,-81.065),(1593.226,-81.065),(1593.226,-82.065),(1617.226,-82.065),(1617.226,-85.065),(1593.226,-85.065),(1593.226,-86.065),(1617.226,-86.065),(1617.226,-89.065),(1590.226,-89.065),(1590.226,-77.065),(1553.226,-77.065),(1553.226,-78.065),(1577.226,-78.065),(1577.226,-81.065),(1553.226,-81.065),(1553.226,-82.065),(1577.226,-82.065),(1577.226,-85.065),(1553.226,-85.065),(1553.226,-86.065),(1577.226,-86.065),(1577.226,-89.065),(1550.226,-89.065),(1550.226,-77.065),(1537.226,-77.065)],
  [(1537.226,-72.065),(1676.226,-72.065),(1676.226,-71.065),(1537.226,-71.065),(1537.226,-70.065),(1677.226,-70.065),(1677.226,-73.065),(1537.226,-73.065)])

lib.write_gds('Inductor_Winding.gds')
